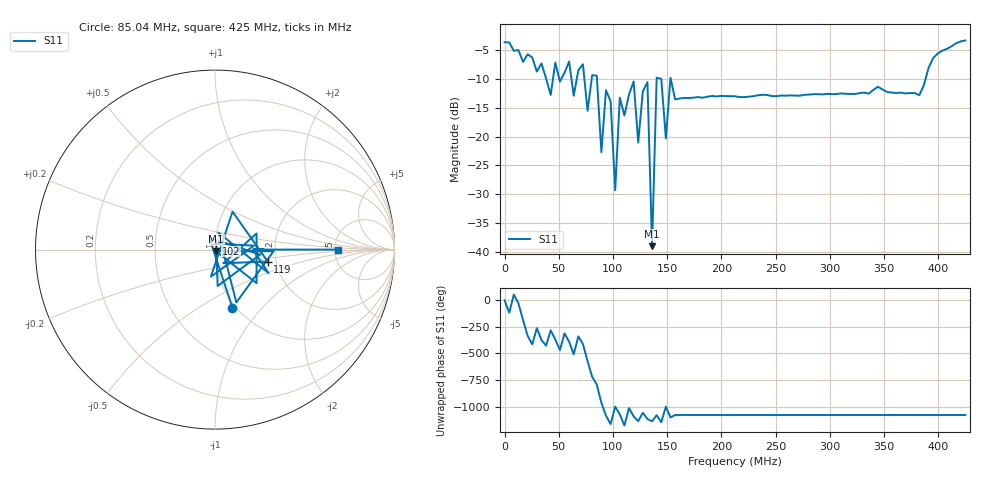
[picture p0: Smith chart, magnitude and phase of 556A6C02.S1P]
!File created by NanoVNA
# Hz S RI R 50
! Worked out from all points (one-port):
!   101 points, 50 kHz to 425 MHz, reference 50 ohm
!   lowest |S11| = -39.1 dB at 136 MHz (marker M1), VSWR 1.02, Z = 50.6 - j0.967 ohm
!   |S11| at or under -10 dB: 38.46 MHz to 44.61 MHz (6.148 MHz wide, 14.8 % of centre); 85.23 MHz to 140.2 MHz (55.01 MHz wide, 48.8 % of centre); 153.3 MHz to 388.2 MHz (234.9 MHz wide, 86.7 % of centre) (the widest 3 of 7)
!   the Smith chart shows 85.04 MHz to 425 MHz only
!   S11 on the Smith chart (normalised r, x): 85.04 MHz: 0.96, -0.71; 102 MHz: 1.01, +0.07; 119 MHz: 1.81, -0.27; 425 MHz: 5.39, +0.00
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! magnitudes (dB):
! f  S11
! 50 kHz  -3.6
! 42.55 MHz  -12.7
! 46.79 MHz  -7.1
! 55.29 MHz  -8.9
! 63.79 MHz  -12.9
! 72.29 MHz  -7.4
! 76.54 MHz  -15.5
! 85.04 MHz  -9.4
! 89.29 MHz  -22.7
! 93.54 MHz  -11.9
! 97.79 MHz  -13.8
! 102 MHz  -29.3
! 106.3 MHz  -13.2
! 110.5 MHz  -16.3
! 119 MHz  -10.4
! 123.3 MHz  -21.0
! 131.8 MHz  -10.5
! 136 MHz  -39.1
! 140.3 MHz  -9.7
! 144.5 MHz  -10.0
! 148.8 MHz  -20.3
! 153 MHz  -9.7
! 161.5 MHz  -13.4
! 212.5 MHz  -13.0
! 267.8 MHz  -12.9
! 318.8 MHz  -12.6
! 374 MHz  -12.4
! 425 MHz  -3.3
